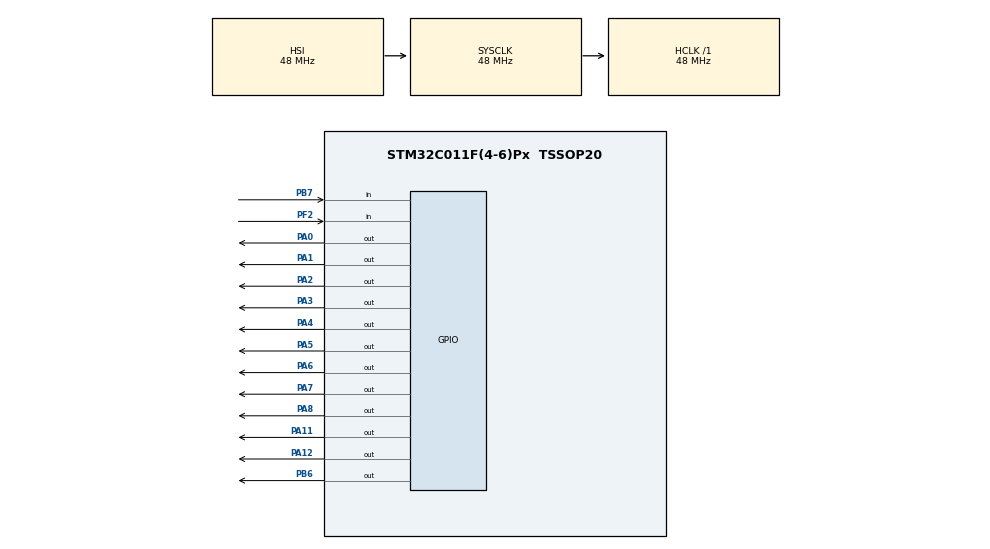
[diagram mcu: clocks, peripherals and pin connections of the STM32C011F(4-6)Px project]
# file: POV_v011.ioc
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Mcu.Family=STM32C0
Mcu.Name=STM32C011F(4-6)Px
Mcu.Package=TSSOP20
PA0.GPIO_Speed=GPIO_SPEED_FREQ_HIGH
PA0.Signal=GPIO_Output
PA1.GPIO_Speed=GPIO_SPEED_FREQ_HIGH
PA1.Signal=GPIO_Output
PA11\ [PA9].GPIO_Speed=GPIO_SPEED_FREQ_HIGH
PA11\ [PA9].Signal=GPIO_Output
PA12\ [PA10].GPIO_Speed=GPIO_SPEED_FREQ_HIGH
PA12\ [PA10].Signal=GPIO_Output
PA13.Mode=Serial_Wire
PA13.Signal=DEBUG_SWDIO
PA14-BOOT0.Mode=Serial_Wire
PA14-BOOT0.Signal=DEBUG_SWCLK
PA2.GPIO_Speed=GPIO_SPEED_FREQ_HIGH
PA2.Signal=GPIO_Output
PA3.GPIO_Speed=GPIO_SPEED_FREQ_HIGH
PA3.Signal=GPIO_Output
PA4.GPIO_Speed=GPIO_SPEED_FREQ_HIGH
PA4.Signal=GPIO_Output
PA5.GPIO_Speed=GPIO_SPEED_FREQ_HIGH
PA5.Signal=GPIO_Output
PA6.GPIO_Speed=GPIO_SPEED_FREQ_HIGH
PA6.Signal=GPIO_Output
PA7.GPIO_Speed=GPIO_SPEED_FREQ_HIGH
PA7.Signal=GPIO_Output
PA8.GPIO_Speed=GPIO_SPEED_FREQ_HIGH
PA8.Signal=GPIO_Output
PB6.GPIO_Speed=GPIO_SPEED_FREQ_HIGH
PB6.Signal=GPIO_Output
PB7.Signal=GPIO_Input
PC14-OSCX_IN\ (PC14).Mode=LSE-External-Oscillator
PC14-OSCX_IN\ (PC14).Signal=RCC_OSCX_IN
PC15-OSCX_OUT\ (PC15).Mode=LSE-External-Oscillator
PC15-OSCX_OUT\ (PC15).Signal=RCC_OSCX_OUT
PF2-NRST.Signal=GPIO_Input
ProjectManager.HeapSize=0x200
ProjectManager.StackSize=0x400
ProjectManager.TargetToolchain=STM32CubeIDE
RCC.ADCFreq_Value=48000000
RCC.AHBFreq_Value=48000000
RCC.CortexFreq_Value=48000000
RCC.EXTERNAL_CLOCK_VALUE=12288000
RCC.HCLKFreq_Value=48000000
RCC.HSE_VALUE=8000000
RCC.HSISYSCLKDivider=RCC_HSI_DIV1
RCC.HSI_VALUE=48000000
RCC.RTCClockSelection=RCC_RTCCLKSOURCE_LSE
RCC.SYSCLKFreq_VALUE=48000000
RTC.Format=RTC_FORMAT_BIN
RTC.HourFormat=RTC_HOURFORMAT_12
RTC.Hours=3
RTC.SynchPrediv=255
VP_RTC_VS_RTC_Activate.Mode=RTC_Enabled
VP_RTC_VS_RTC_Calendar.Mode=RTC_Calendar
board=custom

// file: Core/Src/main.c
/* USER CODE BEGIN Header */
/**
  ******************************************************************************
  * @file           : main.c
  * @brief          : Main program body
  ******************************************************************************
  * @attention
  *
  * Copyright (c) 2024 STMicroelectronics.
  * All rights reserved.
  *
  * This software is licensed under terms that can be found in the LICENSE file
  * in the root directory of this software component.
  * If no LICENSE file comes with this software, it is provided AS-IS.
  *
  ******************************************************************************
  */
/* USER CODE END Header */
#include "main.h"

/* USER CODE BEGIN Includes */
#include "PI_controller.h"
#include "draw_clock.h"
/* USER CODE END Includes */

/* USER CODE BEGIN PTD */
typedef union {
	uint8_t b[4];
	uint32_t v;
} uint8to32_t;
/* USER CODE END PTD */

/* USER CODE BEGIN PD */
#include "my_definitions.h"
/* USER CODE END PD */

RTC_HandleTypeDef hrtc;

/* USER CODE BEGIN PV */
volatile uint8_t digit = 0;
PI_ctrl_inst_q15 omegaPI;
volatile int32_t theta_q31 = 0L, // 2^31==4pi[rad] integrated angular
		omegaTs = 0L; // 2^31==4pi[rad]
volatile int16_t theta; // 2^15==4pi[rad] dumped angular
volatile uint8_t phase_zero = 0;
volatile uint32_t dispPixels[THETA_RESL] = {0x00000000};
volatile uint8_t sw_status = NO_SW_FLAG;
clock_pixel cp;
RTC_TimeTypeDef sTime;
RTC_DateTypeDef sDate;
/* USER CODE END PV */

void SystemClock_Config(void);
static void MX_GPIO_Init(void);
static void MX_RTC_Init(void);
/* USER CODE BEGIN PFP */
static void PLL_init(void);
static void TIM3_init(void);
static void EXTI_init(void);
static void const_delay(void);
/* USER CODE END PFP */

int main(void)
{

  /* MCU Configuration--------------------------------------------------------*/

  /* Reset of all peripherals, Initializes the Flash interface and the Systick. */
  HAL_Init();

  /* Configure the system clock */
  SystemClock_Config();

  /* Initialize all configured peripherals */
  MX_GPIO_Init();
  MX_RTC_Init();
  /* USER CODE BEGIN 2 */
  GPIOF->MODER &= GPIO_MODER_MODE2; // CubeMX does not initialize PF2. PF2:input mode.

  omegaPI.u = OMEGA_MIN; // initialize minimum omega
  omegaTs = __CALC_OMEGATS(omegaPI.u);
  PLL_init();
  EXTI_init();
  TIM3_init();
  clock_pixel_init(&cp, (uint32_t *)dispPixels);

  /* USER CODE END 2 */

  /* Infinite loop */
  /* USER CODE BEGIN WHILE */
  while (1)
  {
 	  if (phase_zero) {
		  update_PI_ctrl(&omegaPI, theta);
		  omegaTs = __CALC_OMEGATS(omegaPI.u);
		  phase_zero = 0;
	  }
 	  HAL_RTC_GetTime(&hrtc, &sTime, RTC_FORMAT_BIN);
 	  HAL_RTC_GetDate(&hrtc, &sDate, RTC_FORMAT_BIN); // You must call HAL_RTC_GetDate() after HAL_RTC_GetTime()
 	  cp.hour = sTime.Hours;
 	  cp.min = sTime.Minutes;
 	  cp.sec = sTime.Seconds;
 	  update_clock_pixel(&cp);

 	  switch(sw_status) {
 	  case MIN_INC_FLAG:
 		  if (sTime.Minutes == 59) { // if not able to ++ minutes, ++ hours
 			  sTime.Minutes = 0;
 			  sw_status = HOUR_INC_FLAG;
 		  } else {
 			  sTime.Minutes++;
 			  HAL_RTC_SetTime(&hrtc, &sTime, RTC_FORMAT_BIN);
 			  HAL_Delay(300); // avoid chattering
 			 sw_status = NO_SW_FLAG;
 		  }
 		  break;
 	  case MIN_DEC_FLAG:
 		  if (sTime.Minutes == 0) { // if not able to -- minutes, -- hours
 			  sTime.Minutes = 59;
 			  sw_status = HOUR_DEC_FLAG;
 		  } else {
 			  sTime.Minutes--;
 			  HAL_RTC_SetTime(&hrtc, &sTime, RTC_FORMAT_BIN);
 			  HAL_Delay(300); // avoid chattering
 			  sw_status = NO_SW_FLAG;
 		  }
 		  break;
 	  case HOUR_INC_FLAG:
 		  if (sTime.Hours == 12) {
 			  sTime.Hours = 1;
 		  } else {
 			  sTime.Hours++;
 		  }
 		  HAL_RTC_SetTime(&hrtc, &sTime, RTC_FORMAT_BIN);
 		  HAL_Delay(300); // avoid chattering
 		  sw_status = NO_SW_FLAG;
 		  break;
 	 case HOUR_DEC_FLAG:
 	  	  if (sTime.Hours == 1) {
 	  		  sTime.Hours = 12;
 	  	  } else {
 	 	 	  sTime.Hours--;
 	  	  }
 	  	  HAL_RTC_SetTime(&hrtc, &sTime, RTC_FORMAT_BIN);
 	  	  HAL_Delay(300); // avoid chattering
 	  	  sw_status = NO_SW_FLAG;
 	  	  break;
 	 default:
 		 break;
 	  }
    /* USER CODE END WHILE */

  }
}

void SystemClock_Config(void)
{
  RCC_OscInitTypeDef RCC_OscInitStruct = {0};
  RCC_ClkInitTypeDef RCC_ClkInitStruct = {0};

  /** Configure LSE Drive Capability
  */
  __HAL_RCC_LSEDRIVE_CONFIG(RCC_LSEDRIVE_LOW);

  /** Initializes the RCC Oscillators according to the specified parameters
  * in the RCC_OscInitTypeDef structure.
  */
  RCC_OscInitStruct.OscillatorType = RCC_OSCILLATORTYPE_HSI|RCC_OSCILLATORTYPE_LSE;
  RCC_OscInitStruct.LSEState = RCC_LSE_ON;
  RCC_OscInitStruct.HSIState = RCC_HSI_ON;
  RCC_OscInitStruct.HSIDiv = RCC_HSI_DIV1;
  RCC_OscInitStruct.HSICalibrationValue = RCC_HSICALIBRATION_DEFAULT;
  if (HAL_RCC_OscConfig(&RCC_OscInitStruct) != HAL_OK)
  {
    Error_Handler();
  }

  /** Initializes the CPU, AHB and APB buses clocks
  */
  RCC_ClkInitStruct.ClockType = RCC_CLOCKTYPE_HCLK|RCC_CLOCKTYPE_SYSCLK
                              |RCC_CLOCKTYPE_PCLK1;
  RCC_ClkInitStruct.SYSCLKSource = RCC_SYSCLKSOURCE_HSI;
  RCC_ClkInitStruct.SYSCLKDivider = RCC_SYSCLK_DIV1;
  RCC_ClkInitStruct.AHBCLKDivider = RCC_HCLK_DIV1;
  RCC_ClkInitStruct.APB1CLKDivider = RCC_APB1_DIV1;

  if (HAL_RCC_ClockConfig(&RCC_ClkInitStruct, FLASH_LATENCY_1) != HAL_OK)
  {
    Error_Handler();
  }
}

static void MX_RTC_Init(void)
{

  RTC_TimeTypeDef sTime = {0};
  RTC_DateTypeDef sDate = {0};

  /** Initialize RTC Only
  */
  hrtc.Instance = RTC;
  hrtc.Init.HourFormat = RTC_HOURFORMAT_12;
  hrtc.Init.AsynchPrediv = 127;
  hrtc.Init.SynchPrediv = 255;
  hrtc.Init.OutPut = RTC_OUTPUT_DISABLE;
  hrtc.Init.OutPutRemap = RTC_OUTPUT_REMAP_NONE;
  hrtc.Init.OutPutPolarity = RTC_OUTPUT_POLARITY_HIGH;
  hrtc.Init.OutPutType = RTC_OUTPUT_TYPE_OPENDRAIN;
  hrtc.Init.OutPutPullUp = RTC_OUTPUT_PULLUP_NONE;
  if (HAL_RTC_Init(&hrtc) != HAL_OK)
  {
    Error_Handler();
  }

  /** Initialize RTC and set the Time and Date
  */
  sTime.Hours = 3;
  sTime.Minutes = 0;
  sTime.Seconds = 0;
  sTime.SubSeconds = 0;
  sTime.TimeFormat = RTC_HOURFORMAT12_AM;
  sTime.DayLightSaving = RTC_DAYLIGHTSAVING_NONE;
  sTime.StoreOperation = RTC_STOREOPERATION_RESET;
  if (HAL_RTC_SetTime(&hrtc, &sTime, RTC_FORMAT_BIN) != HAL_OK)
  {
    Error_Handler();
  }
  sDate.WeekDay = RTC_WEEKDAY_MONDAY;
  sDate.Month = RTC_MONTH_JANUARY;
  sDate.Date = 1;
  sDate.Year = 0;

  if (HAL_RTC_SetDate(&hrtc, &sDate, RTC_FORMAT_BIN) != HAL_OK)
  {
    Error_Handler();
  }

}

static void MX_GPIO_Init(void)
{
  GPIO_InitTypeDef GPIO_InitStruct = {0};

  /* GPIO Ports Clock Enable */
  __HAL_RCC_GPIOB_CLK_ENABLE();
  __HAL_RCC_GPIOC_CLK_ENABLE();
  __HAL_RCC_GPIOF_CLK_ENABLE();
  __HAL_RCC_GPIOA_CLK_ENABLE();

  /*Configure GPIO pin Output Level */
  HAL_GPIO_WritePin(GPIOA, GPIO_PIN_0|GPIO_PIN_1|GPIO_PIN_2|GPIO_PIN_3
                          |GPIO_PIN_4|GPIO_PIN_5|GPIO_PIN_6|GPIO_PIN_7
                          |GPIO_PIN_8|GPIO_PIN_11|GPIO_PIN_12, GPIO_PIN_RESET);

  /*Configure GPIO pin Output Level */
  HAL_GPIO_WritePin(GPIOB, GPIO_PIN_6, GPIO_PIN_RESET);

  /*Configure GPIO pin : PB7 */
  GPIO_InitStruct.Pin = GPIO_PIN_7;
  GPIO_InitStruct.Mode = GPIO_MODE_INPUT;
  GPIO_InitStruct.Pull = GPIO_NOPULL;
  HAL_GPIO_Init(GPIOB, &GPIO_InitStruct);

  /*Configure GPIO pin : PF2 */
  GPIO_InitStruct.Pin = GPIO_PIN_2;
  GPIO_InitStruct.Mode = GPIO_MODE_INPUT;
  GPIO_InitStruct.Pull = GPIO_NOPULL;
  HAL_GPIO_Init(GPIOF, &GPIO_InitStruct);

  /*Configure GPIO pins : PA0 PA1 PA2 PA3
                           PA4 PA5 PA6 PA7
                           PA8 PA11 PA12 */
  GPIO_InitStruct.Pin = GPIO_PIN_0|GPIO_PIN_1|GPIO_PIN_2|GPIO_PIN_3
                          |GPIO_PIN_4|GPIO_PIN_5|GPIO_PIN_6|GPIO_PIN_7
                          |GPIO_PIN_8|GPIO_PIN_11|GPIO_PIN_12;
  GPIO_InitStruct.Mode = GPIO_MODE_OUTPUT_PP;
  GPIO_InitStruct.Pull = GPIO_NOPULL;
  GPIO_InitStruct.Speed = GPIO_SPEED_FREQ_HIGH;
  HAL_GPIO_Init(GPIOA, &GPIO_InitStruct);

  /*Configure GPIO pin : PB6 */
  GPIO_InitStruct.Pin = GPIO_PIN_6;
  GPIO_InitStruct.Mode = GPIO_MODE_OUTPUT_PP;
  GPIO_InitStruct.Pull = GPIO_NOPULL;
  GPIO_InitStruct.Speed = GPIO_SPEED_FREQ_HIGH;
  HAL_GPIO_Init(GPIOB, &GPIO_InitStruct);

}

/* USER CODE BEGIN 4 */
// synchronize theta
static void PLL_init(void) {
	omegaPI.Kp = PLL_KP;
	omegaPI.Kp_decimal = PLL_KP_DECIMAL;
	omegaPI.TsTi = PLL_TSTI;
	omegaPI.y_target = Q15_2PI;
	omegaPI.u_max = OMEGA_MAX;
	omegaPI.u_min = OMEGA_MIN;
	init_PI_ctrl(&omegaPI, Q15_2PI);

	return;
}

// EXTI for PB7
static void EXTI_init(void) {
	// initialize EXTI
	EXTI->FTSR1 |= EXTI_FTSR1_FT7; // falling edge enable on Line 7
	EXTI->EXTICR[1] |= (0x01 << EXTI_EXTICR1_EXTI3_Pos); // select PB7
	EXTI->IMR1 |= EXTI_IMR1_IM7; // disable CPU wake-up mask Line7
	NVIC_EnableIRQ(EXTI4_15_IRQn); // enable interrupt on Line 4 to 15
	return;
}

void EXTI4_15_IRQHandler(void) {
	if (EXTI->FPR1 & EXTI_FPR1_FPIF7) {
		// Line 7 falling edge
		theta = theta_q31 >> 16;
		theta_q31 = 0L;
		phase_zero = 1;
		EXTI->FPR1 = EXTI_FPR1_FPIF7; // clear flag (cleared by writing "1" into bit)
	}
}

static void TIM3_init(void) {
	// initialize TIM3
	RCC->APBENR1 |= RCC_APBENR1_TIM3EN; // clock enable
	TIM3->CR1 |= TIM_CR1_ARPE; // Auto-reload preload enable
	TIM3->CR1 &= ~(TIM_CR1_CMS | TIM_CR1_DIR); // edge-aligned mode, upcounter
	TIM3->CR1 |= TIM_CR1_URS; // only overflow generate UEV
	TIM3->DIER |= TIM_DIER_UIE; // interrupt enable
	TIM3->PSC = 48 - 1; // prescaler 1/48
	TIM3->ARR = 25 - 1; // period=25us @48MHz
	NVIC_EnableIRQ(TIM3_IRQn);
	TIM3->CR1 |= TIM_CR1_CEN; // timer enable
	return;
}

// TIM3 interrupt
void TIM3_IRQHandler(void) {
	TIM3->DIER &= ~TIM_DIER_UIE;

	// update display
	theta_q31 += omegaTs;
	if (theta_q31 < 0) { // overflow theta
		theta_q31 = Q31_4PI;
	}
	uint16_t theta_idx = theta_q31 >> THETA_FIX_Pos;
	theta_idx %= THETA_RESL;
	GPIOA->ODR &= ~LED8BIT_msk;
	uint8to32_t dispPix; // これから表示するピクセルの値, 32bitに代入して8bitずつ取り出su

	// turn ON selected digit & turn OFF previous digit
	switch (digit) {
	case 0:
		if (!(GPIOF->IDR & (1UL << 2))) { // PF2 (SW pin) is 0
			sw_status = HOUR_INC_FLAG;
		}
		GPIOB->ODR &= ~DIG3_msk; // turn OFF DIG3
		dispPix.v = dispPixels[theta_idx];
		const_delay(); // not for display ghost
		GPIOA->ODR |= (LED8BIT_msk & dispPix.b[2]); // update pixel
		GPIOA->ODR |= DIG0_msk; // turn ON DIG0
		break;
	case 1:
		if (!(GPIOF->IDR & (1UL << 2))) {
			sw_status = MIN_DEC_FLAG;
		}
		GPIOA->ODR &= ~DIG0_msk; // turn OFF DIG0
		dispPix.v = dispPixels[theta_idx];
		const_delay(); // not for display ghost
		GPIOA->ODR |= (LED8BIT_msk & dispPix.b[3]);
		GPIOA->ODR |= DIG1_msk; // turn ON DIG1
		break;
	case 2:
		if (!(GPIOF->IDR & (1UL << 2))) {
			sw_status = MIN_INC_FLAG;
		}
		GPIOA->ODR &= ~DIG1_msk; // turn OFF DIG1
		dispPix.v = dispPixels[(theta_idx + (THETA_RESL >> 1)) % THETA_RESL]; // add to theta 180 deg.
		const_delay(); // not for display ghost
		GPIOA->ODR |= (LED8BIT_msk & dispPix.b[0]);
		GPIOA->ODR |= DIG2_msk; // turn ON DIG2
		break;
	case 3:
		if (!(GPIOF->IDR & (1UL << 2))) {
			sw_status = HOUR_DEC_FLAG;
		}
		GPIOA->ODR &= ~DIG2_msk; // turn OFF DIG2
		dispPix.v = dispPixels[(theta_idx + (THETA_RESL >> 1)) % THETA_RESL];
		const_delay(); // not for display ghost
		GPIOA->ODR |= (LED8BIT_msk & dispPix.b[1]);
		GPIOB->ODR |= DIG3_msk; // turn ON DIG3
		break;
	default:
		// do nothing
		break;
	}
	digit++;
	digit %= 4;

	TIM3->SR &= ~TIM_SR_UIF; // clear pending flag
	TIM3->DIER |= TIM_DIER_UIE;
}

static void __attribute__((optimize("O0"))) const_delay(void) {
	uint16_t foo = 0;

	/*
	 * memo
	 * 0 NG ghost
	 * 1 OK no ghost
	 * 10 OK no ghost
	 */
	while (foo < 1) {
		foo++;
	}

	return;
}
/* USER CODE END 4 */

void Error_Handler(void)
{
  __disable_irq();
  while (1)
  {
  }
}
